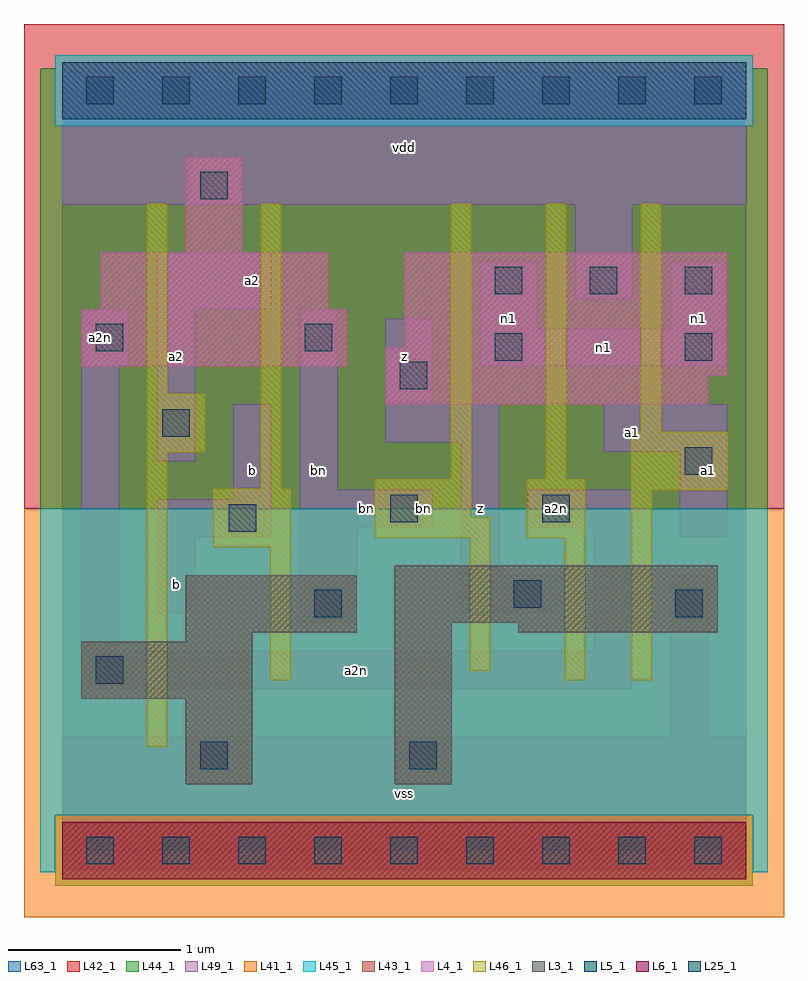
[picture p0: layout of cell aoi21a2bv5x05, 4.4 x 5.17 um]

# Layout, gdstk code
import gdstk
lib = gdstk.Library(unit=1e-6, precision=1e-09)
def R(c, l, rs):  # rectangles x0, y0, x1, y1
    for r in rs: c.add(gdstk.rectangle(r[:2], r[2:], *l))
def A(c, l, x, y, w, h, nx, ny, dx, dy):  # array of equal rectangles
    R(c, l, [(x+i*dx, y+j*dy, x+i*dx+w, y+j*dy+h) for i in range(nx) for j in range(ny)])
L3_1 = (3, 1)
L4_1 = (4, 1)
L5_1 = (5, 1)
L6_1 = (6, 1)
L25_1 = (25, 1)
L41_1 = (41, 1)
L42_1 = (42, 1)
L43_1 = (43, 1)
L44_1 = (44, 1)
L45_1 = (45, 1)
L46_1 = (46, 1)
L49_1 = (49, 1)
L63_1 = (63, 1)

aoi21a2bv5x05 = lib.new_cell('aoi21a2bv5x05')
R(aoi21a2bv5x05, L3_1, [(0.715,0.385,1.1,0.88), (1.925,0.385,2.255,1.32), (0.11,0.88,1.1,1.21), (0.715,1.21,1.1,1.265), (0.715,1.265,1.705,1.595), (2.64,1.265,3.795,1.32), (1.925,1.32,3.795,1.65)])
R(aoi21a2bv5x05, L4_1, [(1.87,2.585,3.74,2.75), (1.87,2.75,3.85,2.915), (0.11,2.805,1.65,3.135), (1.98,2.915,3.85,3.465), (0.22,3.135,1.54,3.465), (0.715,3.465,1.045,4.015)])
R(aoi21a2bv5x05, L5_1, [(0,4.235,3.96,4.565)])
R(aoi21a2bv5x05, L6_1, [(0,-0.165,3.96,0.165)])
A(aoi21a2bv5x05, L25_1, 0.14, -0.08, 0.16, 0.16, 9, 2, 0.44, 4.4)
A(aoi21a2bv5x05, L25_1, 2.505, 3.22, 0.16, 0.16, 3, 1, 0.55, 0)
R(aoi21a2bv5x05, L25_1, [(0.8,0.47,0.96,0.63), (2.01,0.47,2.17,0.63), (0.195,0.965,0.355,1.125), (1.46,1.35,1.62,1.51), (3.55,1.35,3.71,1.51), (2.615,1.405,2.775,1.565), (0.965,1.845,1.125,2.005), (1.9,1.9,2.06,2.06), (2.78,1.9,2.94,2.06), (3.605,2.175,3.765,2.335), (0.58,2.395,0.74,2.555), (1.955,2.67,2.115,2.83), (2.505,2.835,2.665,2.995), (3.605,2.835,3.765,2.995), (0.195,2.89,0.355,3.05), (1.405,2.89,1.565,3.05), (0.8,3.77,0.96,3.93)])
R(aoi21a2bv5x05, L41_1, [(-0.22,-0.385,4.18,1.98)])
R(aoi21a2bv5x05, L42_1, [(-0.22,1.98,4.18,4.785)])
R(aoi21a2bv5x05, L43_1, [(0,-0.165,3.96,0.165), (0.715,0.385,1.1,0.88), (1.925,0.385,2.255,1.32), (0.11,0.88,1.1,1.21), (0.715,1.21,1.1,1.265), (0.715,1.265,1.705,1.595), (2.64,1.265,3.795,1.32), (1.925,1.32,3.795,1.65), (1.87,2.585,3.74,2.75), (1.87,2.75,3.85,2.915), (0.11,2.805,1.65,3.135), (1.98,2.915,3.85,3.465), (0.22,3.135,1.54,3.465), (0.715,3.465,1.045,4.015), (0,4.235,3.96,4.565)])
R(aoi21a2bv5x05, L44_1, [(-0.04,-0.205,4,0.205), (-0.125,1.98,4.085,4.195), (-0.125,4.195,-0.04,4.525), (4,4.195,4.085,4.525)])
R(aoi21a2bv5x05, L45_1, [(-0.125,-0.125,-0.04,0.205), (4,-0.125,4.085,0.205), (-0.125,0.205,4.085,1.98), (-0.04,4.195,4,4.605)])
R(aoi21a2bv5x05, L46_1, [(0.49,0.6,0.61,2.305), (1.205,0.985,1.325,1.755), (2.91,0.985,3.03,1.81), (3.295,0.985,3.415,2.085), (2.36,1.04,2.48,1.81), (0.875,1.755,1.325,2.095), (1.81,1.81,2.48,1.93), (2.69,1.81,3.03,2.15), (1.81,1.93,2.37,2.15), (3.295,2.085,3.855,2.425), (1.15,2.095,1.27,3.745), (2.25,2.15,2.37,3.745), (2.8,2.15,2.92,3.745), (0.49,2.305,0.83,2.645), (3.35,2.425,3.47,3.745), (0.49,2.645,0.61,3.745)])
R(aoi21a2bv5x05, L49_1, [(0,-0.11,3.96,0.66), (3.52,0.66,3.74,1.595), (0.11,0.935,3.3,1.155), (0.11,1.155,0.33,2.805), (3.08,1.155,3.3,1.87), (1.375,1.32,1.705,1.87), (0.55,1.375,0.77,1.815), (2.31,1.375,2.86,1.595), (2.31,1.595,2.53,2.365), (0.55,1.815,1.21,2.035), (3.575,1.815,3.85,2.31), (1.375,1.87,2.145,2.09), (2.695,1.87,3.3,2.09), (0.99,2.035,1.21,2.585), (1.375,2.09,1.595,3.135), (0.55,2.255,0.77,3.135), (3.135,2.31,3.85,2.585), (1.87,2.365,2.53,2.585), (1.87,2.585,2.145,3.08), (0.11,2.805,0.385,3.135), (2.42,2.805,3.85,3.025), (2.42,3.025,2.75,3.41), (3.52,3.025,3.85,3.41), (0.55,3.135,1.21,3.465), (2.97,3.19,3.3,3.74), (0,3.74,3.96,4.51)])
R(aoi21a2bv5x05, L63_1, [(0,0,3.96,4.4)])
aoi21a2bv5x05.add(gdstk.Label('bn', (2.09,1.98), layer=46, texttype=1))
aoi21a2bv5x05.add(gdstk.Label('a2n', (2.86,1.98), layer=49, texttype=1))
aoi21a2bv5x05.add(gdstk.Label('a2n', (0.22,2.97), layer=49, texttype=1))
aoi21a2bv5x05.add(gdstk.Label('b', (0.66,1.54), layer=49, texttype=1))
aoi21a2bv5x05.add(gdstk.Label('b', (1.1,2.2), layer=49, texttype=1))
aoi21a2bv5x05.add(gdstk.Label('a2', (0.66,2.86), layer=49, texttype=1))
aoi21a2bv5x05.add(gdstk.Label('a2', (1.1,3.3), layer=49, texttype=1))
aoi21a2bv5x05.add(gdstk.Label('vss', (1.98,0.33), layer=49, texttype=1))
aoi21a2bv5x05.add(gdstk.Label('bn', (1.76,1.98), layer=49, texttype=1))
aoi21a2bv5x05.add(gdstk.Label('z', (1.98,2.86), layer=49, texttype=1))
aoi21a2bv5x05.add(gdstk.Label('bn', (1.485,2.2), layer=49, texttype=1))
aoi21a2bv5x05.add(gdstk.Label('vdd', (1.98,4.07), layer=49, texttype=1))
aoi21a2bv5x05.add(gdstk.Label('z', (2.42,1.98), layer=49, texttype=1))
aoi21a2bv5x05.add(gdstk.Label('n1', (2.585,3.08), layer=49, texttype=1))
aoi21a2bv5x05.add(gdstk.Label('a2n', (1.705,1.045), layer=49, texttype=1))
aoi21a2bv5x05.add(gdstk.Label('a1', (3.3,2.42), layer=49, texttype=1))
aoi21a2bv5x05.add(gdstk.Label('a2n', (2.97,1.98), layer=49, texttype=1))
aoi21a2bv5x05.add(gdstk.Label('a1', (3.74,2.2), layer=49, texttype=1))
aoi21a2bv5x05.add(gdstk.Label('n1', (3.135,2.915), layer=49, texttype=1))
aoi21a2bv5x05.add(gdstk.Label('n1', (3.685,3.08), layer=49, texttype=1))

lib.write_gds('aoi21a2bv5x05.gds')
